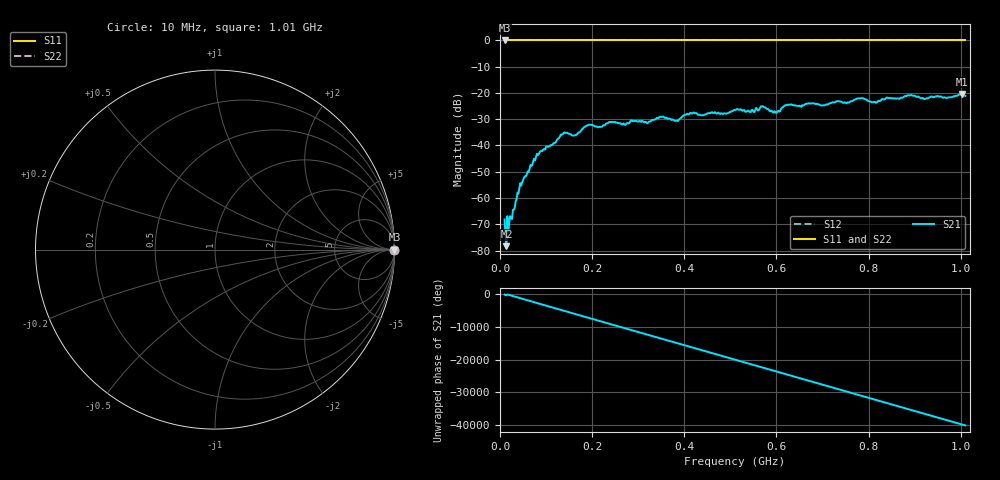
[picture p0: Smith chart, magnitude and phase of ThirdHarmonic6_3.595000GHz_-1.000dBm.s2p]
! 8/17/2025 11:58:25 AM
! C:\ANRITSUVNA\TEMP\TEMP.S2P
! CHANNEL.1
! TR.MEASUREMENT
! RAW.DATA
! RF.CORRECTION.OFF
! AVERAGING.OFF
! IF.BANDWIDTH: 5KHZ
! SWEEPTYPE:  FREQ.SWEEP(Linear)
! Reference Plane Port Info
! PORT:  PORT1  PORT2
! DISTANCE:  0  m  0  m
! TIME:  0  s  0  s
! PHASE.OFFSET:  0  deg.  0  deg.
! LOSS:  0  dB  0  dB
! REF.LOSS:  0  dB  0  dB
! REF.FREQ:  0  Hz  0  Hz
! Power Info
! POWER:  -20  dBm  -20  dBm
! EFF.POWER:  -20  dBm  -20  dBm
! SOURCE.ATTEN:  0  dB  0  dB
! TEST.ATTEN:  0  dB  0  dB
# GHZ S RI R 50.0
! FREQ.GHZ  S11RE  S11IM  S21RE  S21IM  S12RE  S12IM  S22RE  S22IM
!; PortSelection: Port_12
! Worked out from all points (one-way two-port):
!   501 points, 10 MHz to 1.01 GHz, reference 50 ohm
!   highest |S21| = -20.43 dB at 1.002 GHz (marker M1); lowest = -78.3 dB at 14 MHz (marker M2)
!   lowest |S11| = 0.0 dB at 10 MHz (marker M3)
!   |S11| at or under -10 dB: nowhere
!   |S22| runs from 0.0 to 0.0 dB; largest |S21 - S12| = 1.1
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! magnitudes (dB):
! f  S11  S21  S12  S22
! 10 MHz  0.0  -68.2  0.0  0.0
! 14 MHz  0.0  -78.3  0.0  0.0
! 16 MHz  0.0  -66.9  0.0  0.0
! 20 MHz  0.0  -69.4  0.0  0.0
! 46 MHz  0.0  -55.3  0.0  0.0
! 82 MHz  0.0  -43.7  0.0  0.0
! 136 MHz  0.0  -35.7  0.0  0.0
! 162 MHz  0.0  -36.2  0.0  0.0
! 178 MHz  0.0  -33.8  0.0  0.0
! 194 MHz  0.0  -32.1  0.0  0.0
! 322 MHz  0.0  -31.1  0.0  0.0
! 344 MHz  0.0  -29.6  0.0  0.0
! 382 MHz  0.0  -30.6  0.0  0.0
! 416 MHz  0.0  -27.8  0.0  0.0
! 510 MHz  0.0  -26.5  0.0  0.0
! 570 MHz  0.0  -25.0  0.0  0.0
! 596 MHz  0.0  -27.0  0.0  0.0
! 622 MHz  0.0  -24.6  0.0  0.0
! 678 MHz  0.0  -24.0  0.0  0.0
! 844 MHz  0.0  -22.0  0.0  0.0
! 1.002 GHz  0.0  -20.4  0.0  0.0
! 1.01 GHz  0.0  -21.1  0.0  0.0
